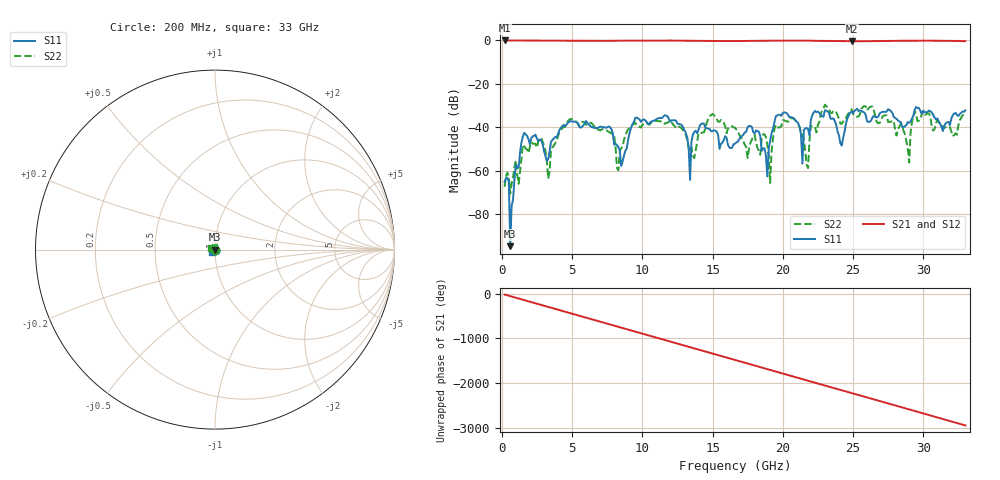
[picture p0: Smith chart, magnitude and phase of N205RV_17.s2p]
# GHZ S RI R 50
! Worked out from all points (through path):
!   329 points, 200 MHz to 33 GHz, reference 50 ohm
!   highest |S21| = -0.01 dB at 200 MHz (marker M1); lowest = -0.4 dB at 24.9 GHz (marker M2)
!   group delay of S21, straight-line fit = 248 ps
!   lowest |S11| = -94.7 dB at 600 MHz (marker M3), VSWR 1.00, Z = 50 - j0.00123 ohm
!   |S11| at or under -10 dB: start of sweep to end of sweep
!   |S22| runs from -70.5 to -29.6 dB; largest |S21 - S12| = 0.0019
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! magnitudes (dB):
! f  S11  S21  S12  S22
! 200 MHz  -65.2  0.0  0.0  -67.4
! 600 MHz  -94.7  0.0  0.0  -70.5
! 1.6 GHz  -42.6  0.0  0.0  -48.7
! 3.3 GHz  -54.7  -0.1  -0.1  -63.6
! 5.7 GHz  -39.7  -0.2  -0.2  -37.5
! 8.3 GHz  -49.1  -0.1  -0.1  -59.7
! 11.2 GHz  -35.7  -0.1  -0.1  -37.2
! 12.9 GHz  -39.8  -0.1  -0.1  -41.4
! 13.4 GHz  -64.2  -0.2  -0.2  -51.2
! 14.2 GHz  -38.5  -0.2  -0.2  -42.7
! 16.6 GHz  -47.5  -0.3  -0.3  -40.2
! 18.7 GHz  -49.7  -0.1  -0.1  -43.2
! 19.1 GHz  -46.1  -0.1  -0.1  -65.6
! 19.5 GHz  -35.0  -0.1  -0.1  -38.9
! 21.4 GHz  -56.6  -0.1  -0.1  -43.0
! 21.8 GHz  -40.8  -0.1  -0.1  -58.8
! 22.1 GHz  -34.4  -0.1  -0.1  -39.3
! 24.9 GHz  -32.8  -0.4  -0.4  -31.7
! 27.6 GHz  -32.0  -0.2  -0.2  -37.5
! 29 GHz  -37.8  -0.1  -0.1  -56.2
! 29.4 GHz  -31.7  -0.1  -0.1  -32.5
! 33 GHz  -32.2  -0.3  -0.3  -33.3
